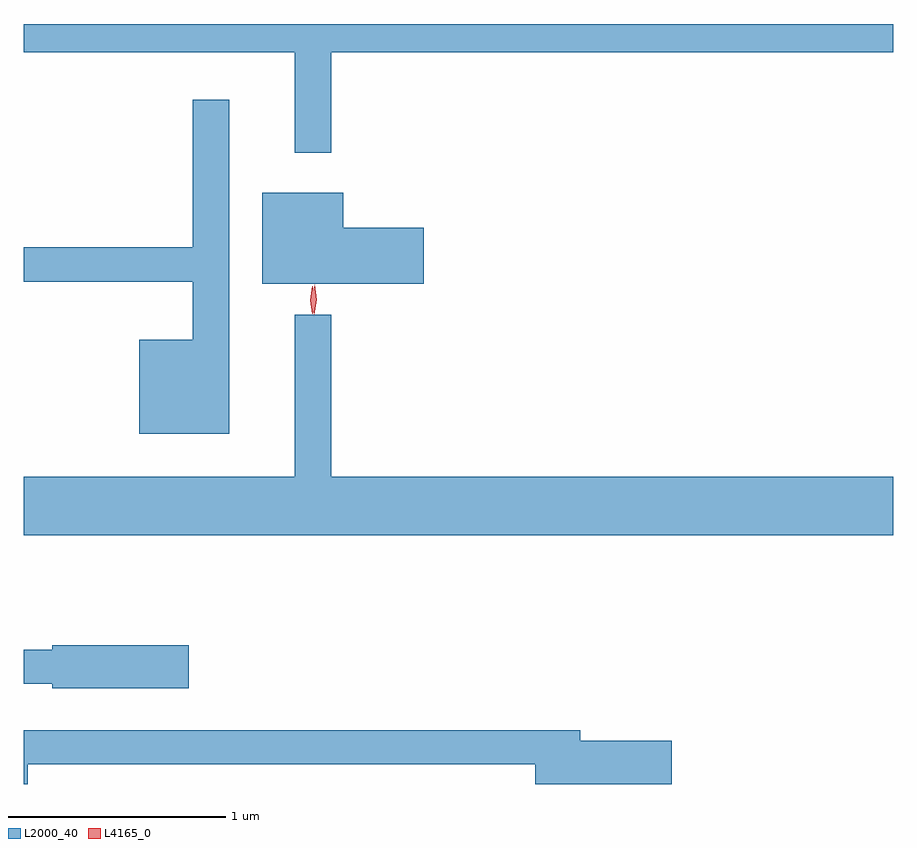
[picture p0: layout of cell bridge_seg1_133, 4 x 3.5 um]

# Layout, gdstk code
import gdstk
lib = gdstk.Library(unit=1e-6, precision=1e-09)
def P(c, l, *ps):  # polygons
    for p in ps: c.add(gdstk.Polygon(p, *l))
L2000_40 = (2000, 40)
L4165_0 = (4165, 0)

bridge_seg1_133 = lib.new_cell('bridge_seg1_133')
P(bridge_seg1_133, L2000_40, [(1397.589,877.376),(1400.174,877.376),(1400.174,877.506),(1396.174,877.506),(1396.174,877.376),(1397.421,877.376),(1397.421,876.913),(1397.589,876.913)],
  [(1397.119,877.158),(1396.951,877.158),(1396.951,876.479),(1396.174,876.479),(1396.174,876.321),(1396.951,876.321),(1396.951,876.054),(1396.706,876.054),(1396.706,875.621),(1397.119,875.621)],
  [(1398.014,876.569),(1397.644,876.569),(1397.644,876.729),(1397.271,876.729),(1397.271,876.311),(1398.014,876.311)],
  [(1400.174,875.424),(1397.589,875.424),(1397.589,876.168),(1397.421,876.168),(1397.421,875.424),(1396.174,875.424),(1396.174,875.156),(1400.174,875.156)],
  [(1396.934,874.649),(1396.306,874.649),(1396.306,874.629),(1396.174,874.629),(1396.174,874.471),(1396.306,874.471),(1396.306,874.451),(1396.934,874.451)],
  [(1396.194,874.101),(1398.526,874.101),(1398.526,874.011),(1399.154,874.011),(1399.154,874.209),(1398.734,874.209),(1398.734,874.259),(1396.174,874.259),(1396.174,874.011),(1396.194,874.011)])
P(bridge_seg1_133, L4165_0, [(1397.51,876.17),(1397.51,876.17),(1397.501,876.238),(1397.512,876.306),(1397.512,876.306),(1397.512,876.306),(1397.521,876.238),(1397.511,876.17)],
  [(1397.502,876.173),(1397.492,876.236),(1397.502,876.299),(1397.502,876.3),(1397.503,876.299),(1397.512,876.236),(1397.503,876.173),(1397.503,876.173)])

lib.write_gds('bridge_seg1_133.gds')
